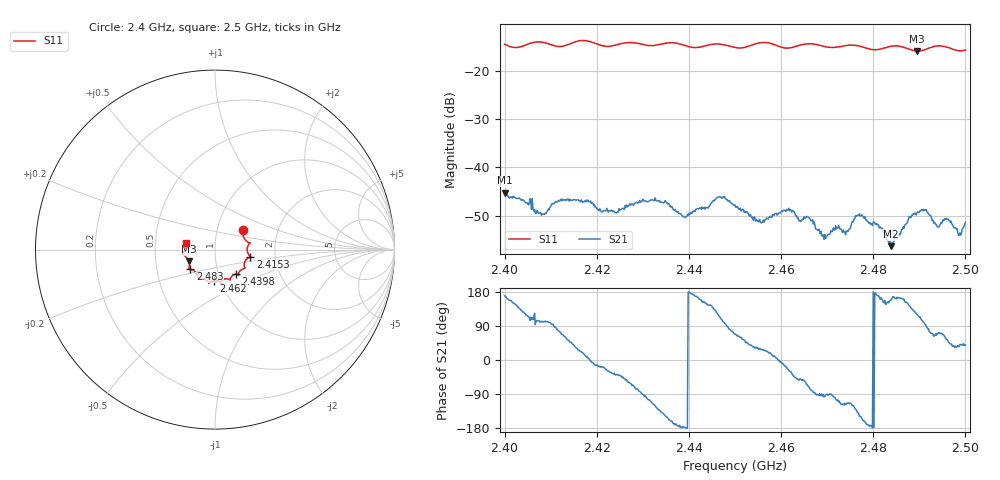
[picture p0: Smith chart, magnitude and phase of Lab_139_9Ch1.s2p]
# Hz S RI R 50
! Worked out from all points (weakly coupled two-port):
!   601 points, 2.4 GHz to 2.5 GHz, reference 50 ohm
!   highest |S21| = -45.21 dB at 2.4 GHz (marker M1); lowest = -56.3 dB at 2.4838 GHz (marker M2)
!   lowest |S11| = -15.9 dB at 2.4895 GHz (marker M3), VSWR 1.38, Z = 36.9 - j4.99 ohm
!   |S11| at or under -10 dB: start of sweep to end of sweep
!   S12 and S22 are empty: the file has one direction only
!   S11 on the Smith chart (normalised r, x): 2.4 GHz: 1.33, +0.29; 2.4153 GHz: 1.48, -0.12; 2.4398 GHz: 1.21, -0.34; 2.462 GHz: 0.93, -0.33; 2.483 GHz: 0.74, -0.17; 2.5 GHz: 0.72, +0.06
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2.4e9  0.1553 0.1067  -0.0054 0.000989  0 0  0 0
2.408167e9  0.1952 0.0371  -0.000681 0.00322  0 0  0 0
2.415333e9  0.1965 -0.0387  0.00384 0.0026  0 0  0 0
2.416667e9  0.2021 -0.043  0.00429 0.0017  0 0  0 0
2.424167e9  0.1629 -0.089  0.00265 -0.00215  0 0  0 0
2.433333e9  0.1311 -0.1334  -0.00295 -0.00343  0 0  0 0
2.439833e9  0.1153 -0.1367  -0.00319 4.81e-05  0 0  0 0
2.4465e9  0.0847 -0.1702  -0.00226 0.0044  0 0  0 0
2.45e9  0.0646 -0.1627  0.00154 0.00378  0 0  0 0
2.4555e9  0.0373 -0.1921  0.00235 0.00133  0 0  0 0
2.462e9  -0.00521 -0.1734  0.00314 -0.00187  0 0  0 0
2.466667e9  -0.0344 -0.1875  0.000458 -0.00277  0 0  0 0
2.4695e9  -0.044 -0.1734  -0.000209 -0.00201  0 0  0 0
2.477333e9  -0.0969 -0.1506  -0.00272 -0.00159  0 0  0 0
2.483e9  -0.1379 -0.1095  -0.00155 0.000829  0 0  0 0
2.483333e9  -0.1404 -0.1092  -0.00146 0.000816  0 0  0 0
2.483833e9  -0.1432 -0.1089  -0.00142 0.000561  0 0  0 0
2.4895e9  -0.1466 -0.0658  -0.00172 0.00293  0 0  0 0
2.494e9  -0.1802 -0.0229  0.000859 0.00226  0 0  0 0
2.496e9  -0.1758 -0.0149  0.00169 0.00237  0 0  0 0
2.498667e9  -0.1609 0.0159  0.00161 0.00116  0 0  0 0
2.5e9  -0.1597 0.0392  0.00209 0.00171  0 0  0 0
